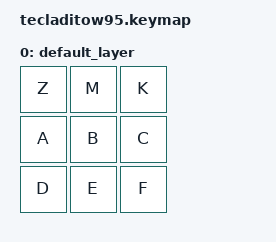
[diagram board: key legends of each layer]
#include <behaviors.dtsi>
#include <dt-bindings/zmk/keys.h>

/ {
    keymap {
        compatible = "zmk,keymap";

        default_layer {
            bindings = <
                &kp Z   &kp M   &kp K
                &kp A   &kp B   &kp C
                &kp D   &kp E   &kp F
            >;
        };
    };
};
